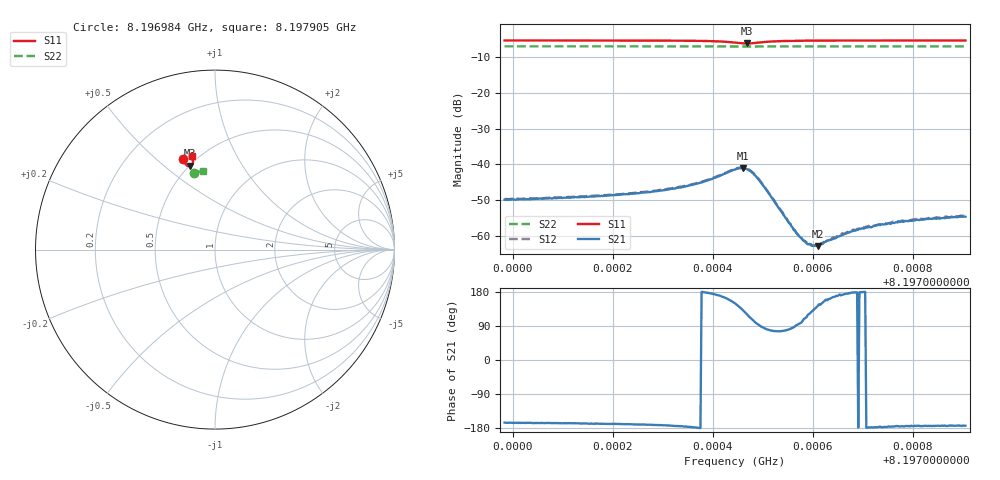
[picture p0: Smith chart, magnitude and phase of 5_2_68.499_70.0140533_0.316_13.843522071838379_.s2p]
#  HZ  S  RI  R  50.00
! Rohde & Schwarz Vector Network Analyzer
! Rohde-Schwarz,ZNB20-2Port,1311601062101988,3.16
! Created: UTC 3/20/2024, 4:48:46 PM
! freq[Hz]  re:S11  im:S11  re:S21  im:S21  re:S12  im:S12  re:S22  im:S22
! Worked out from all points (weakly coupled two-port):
!   401 points, 8.196984 GHz to 8.197905 GHz, reference 50 ohm
!   highest |S21| = -41.03 dB at 8.197461 GHz (marker M1); lowest = -62.8 dB at 8.197611 GHz (marker M2)
!   lowest |S11| = -6.3 dB at 8.197468 GHz (marker M3), VSWR 2.90, Z = 25.2 + j30.9 ohm
!   |S11| at or under -10 dB: nowhere
!   |S22| runs from -7.1 to -7.0 dB; largest |S21 - S12| = 0.00045
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8.1969842e9  -0.1803 0.5049  -0.0031 -0.000822  -0.00321 -0.000674  -0.1154 0.4288
8.1971385e9  -0.168 0.5085  -0.00344 -0.000751  -0.0035 -0.000649  -0.1069 0.4307
8.1972191e9  -0.1608 0.5102  -0.00373 -0.00073  -0.00384 -0.000564  -0.1025 0.4316
8.1972927e9  -0.1527 0.5114  -0.00422 -0.000603  -0.00435 -0.000453  -0.0983 0.4325
8.1973411e9  -0.1459 0.5113  -0.00481 -0.000412  -0.00494 -0.000164  -0.0955 0.4328
8.1973733e9  -0.1396 0.5101  -0.00548 -5.53e-05  -0.0056 0.000171  -0.0936 0.4332
8.1974447e9  -0.1227 0.4856  -0.00728 0.00431  -0.00726 0.00472  -0.0895 0.4331
8.1974608e9  -0.1302 0.4711  -0.00581 0.00672  -0.00559 0.00706  -0.0888 0.4329
8.1974677e9  -0.1374 0.467  -0.00453 0.00733  -0.00428 0.00765  -0.0888 0.433
8.1974816e9  -0.1534 0.4674  -0.00175 0.00721  -0.00152 0.00739  -0.0885 0.4331
8.1974954e9  -0.1637 0.4762  2.78e-05 0.00572  0.000275 0.00583  -0.0879 0.4335
8.1975668e9  -0.1596 0.5057  -3.2e-05 0.00111  6.1e-05 0.00112  -0.0838 0.4349
8.1975852e9  -0.1567 0.5083  -0.000293 0.000774  -0.000261 0.000801  -0.0828 0.4352
8.197599e9  -0.1547 0.5097  -0.000464 0.000572  -0.000413 0.000596  -0.082 0.4353
8.1976036e9  -0.1542 0.5101  -0.000518 0.000514  -0.000496 0.000548  -0.0816 0.4354
8.1976105e9  -0.1532 0.5107  -0.000575 0.000434  -0.000598 0.000519  -0.0813 0.4353
8.197622e9  -0.1518 0.5116  -0.000726 0.000353  -0.000727 0.000402  -0.0807 0.4355
8.1976773e9  -0.1456 0.5145  -0.00115 4.38e-05  -0.00118 0.000134  -0.0775 0.4361
8.1977279e9  -0.1406 0.5164  -0.0014 -5.49e-05  -0.00142 2.57e-05  -0.0746 0.4365
8.1977533e9  -0.1383 0.5171  -0.00151 -0.000108  -0.00151 -4.59e-05  -0.0731 0.4368
8.1978062e9  -0.1336 0.5184  -0.00166 -0.000167  -0.00172 -0.000101  -0.0702 0.4372
8.1979052e9  -0.1256 0.5205  -0.00184 -0.000209  -0.00189 -0.000198  -0.0647 0.4378
